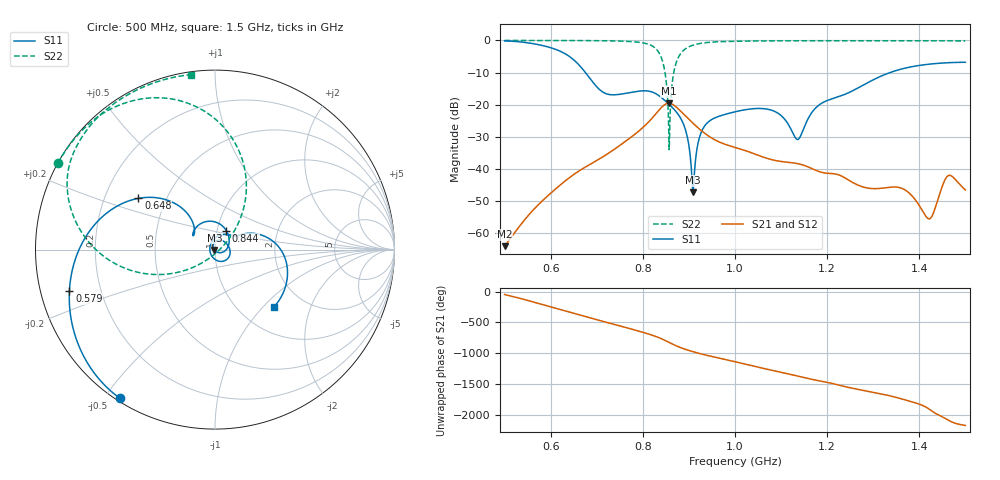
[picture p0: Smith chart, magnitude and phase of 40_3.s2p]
! TOUCHSTONE file generated by CST MICROWAVE STUDIO
! Date and time: Fri Oct  2 16:34:09 2020
! Project name: Scenario_1_Free_Space_out_of_line.cst
! Parameters = {Lambda=346.42; Step_1=17.321; dy1=-328.659; dx1=520; L_HA=400; MT=2.54; Rad_Dielectric=30; Rad_Lower=7.3; Rad_Upper=30; a_HA=580; a_WG=246; b_HA=500; b_WG=121; c_HA=0; c_WG=187; d_feed=85; h_feed=15; h_lower=18; h_upper=40}
! Header version: 2018
! Port assignment regex: !\s*Touchstone port\s*([0-9]+)\s*=\s*(CST MWS port|CST DS port)\s*([0-9]+|Zmin|Zmax)\s*\(\"(.*)\"\)(\s*mode\s*([0-9]+))?.*
! Touchstone port assignment:
! Touchstone port 1 = CST MWS port 1 ("")
! Touchstone port 2 = CST MWS port 2 ("")
# GHz S DB R 50
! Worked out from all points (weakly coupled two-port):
!   1003 points, 500 MHz to 1.5 GHz, reference 50 ohm
!   highest |S21| = -19.52 dB at 856 MHz (marker M1); lowest = -63.9 dB at 500 MHz (marker M2)
!   lowest |S11| = -47.2 dB at 909 MHz (marker M3), VSWR 1.01, Z = 49.6 - j0.238 ohm
!   |S11| at or under -10 dB: 675.5 MHz to 1.336 GHz (660.7 MHz wide, 65.7 % of centre)
!   |S22| runs from -33.9 to 0.0 dB; largest |S21 - S12| = 6.7e-05
!   S11 on the Smith chart (normalised r, x): 500 MHz: 0.01, -0.55; 579 MHz: 0.09, -0.14; 648 MHz: 0.35, +0.27; 844 MHz: 1.11, +0.24; 1.5 GHz: 1.42, -1.15
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0.5  -0.15 -122.6  -63.94 -46.7  -63.94 -46.7  -0.01 151.1
0.579  -1.48 -164.2  -50.24 157.3  -50.24 157.3  -0.01 145.7
0.648  -5.79 146.2  -41.88 12.1  -41.88 12.1  -0.04 140.1
0.667  -8.52 133.4  -40.07 -28.3  -40.07 -28.3  -0.04 138.3
0.718  -16.41 139.0  -35.75 -131.6  -35.75 -131.6  -0.10 132.5
0.779  -16.05 138.5  -29.56 104.5  -29.56 104.5  -0.41 120.5
0.834  -17.07 74.5  -21.84 -24.7  -21.84 -24.7  -3.58 84.1
0.844  -18.18 59.4  -20.34 -57.3  -20.34 -57.3  -7.12 67.0
0.856  -19.72 41.6  -19.52 -101.6  -19.52 -101.6  -26.32 23.1
0.874  -22.46 13.3  -20.88 -164.9  -20.88 -164.9  -6.27 -166.4
0.894  -28.53 -27.0  -23.69 139.4  -23.69 139.4  -2.45 172.2
0.909  -47.18 -146.8  -25.76 104.5  -25.76 104.5  -1.46 163.1
0.921  -31.18 111.7  -27.32 79.5  -27.32 79.5  -1.03 157.8
0.934  -26.60 85.7  -28.83 54.8  -28.83 54.8  -0.73 153.3
1  -22.18 13.2  -33.24 -57.9  -33.24 -57.9  -0.27 140.2
1.085  -21.99 -53.9  -37.24 155.3  -37.24 155.3  -0.13 131.0
1.136  -30.80 -177.5  -38.29 69.2  -38.29 69.2  -0.11 126.7
1.167  -22.35 78.5  -39.83 15.4  -39.83 15.4  -0.09 124.2
1.334  -10.11 10.7  -45.65 112.3  -45.65 112.3  -0.09 111.5
1.421  -7.38 -19.2  -55.46 -106.2  -55.46 -106.3  -0.11 104.6
1.462  -6.93 -32.8  -42.09 76.2  -42.08 76.7  -0.12 101.2
1.5  -6.78 -44.4  -46.47 -13.3  -46.44 -13.2  -0.14 97.9
